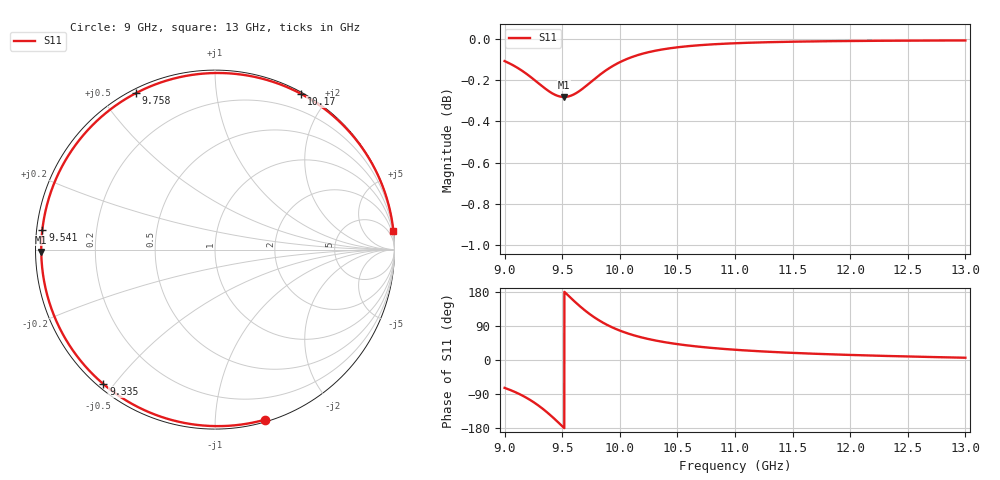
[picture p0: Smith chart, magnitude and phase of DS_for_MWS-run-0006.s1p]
! TOUCHSTONE file generated by CST DESIGN STUDIO
! Date and time: Tue Feb  4 17:32:15 2025
! Project name: C:\Work\MatlabApps\UnitCellOptimizationMatlab\CST\unitcell.cst
! Tree item: Tasks\Sweep1\SPara1\S-Parameters
! Header version: 2024
! Port assignment regex: !\s*Touchstone port\s*([0-9]+)\s*=\s*(CST MWS port|CST DES external port|CST DES block port)\s*(.+)\s* \(\"(.*)\"\)(\s*mode\s*([0-9]+))?.*
! Touchstone port assignment:
! Touchstone port 1 = CST DES external port 1 ("")
# GHz S MA R 50
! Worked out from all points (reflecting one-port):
!   4001 points, 9 GHz to 13 GHz, reference 50 ohm
!   lowest |S11| = -0.3 dB at 9.516 GHz (marker M1), VSWR 61.78, Z = 0.809 - j0.327 ohm
!   phase of S11 starts at -74 deg and turns -280 deg over the sweep
!   S11 on the Smith chart (normalised r, x): 9 GHz: 0.02, -1.34; 9.335 GHz: 0.02, -0.47; 9.541 GHz: 0.02, +0.06; 9.758 GHz: 0.02, +0.61; 10.17 GHz: 0.02, +1.69; 13 GHz: 0, +19
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9  0.9878 -73.6
9.091  0.9849 -84.6
9.195  0.9805 -100.6
9.268  0.9769 -114.6
9.335  0.9735 -129.7
9.38  0.9714 -141.0
9.426  0.9697 -153.4
9.464  0.9687 -164.1
9.5  0.9682 -174.6
9.516  0.9681 -179.3
9.541  0.9683 173.4
9.595  0.9694 157.9
9.655  0.9716 141.5
9.706  0.9741 128.7
9.758  0.9768 116.9
9.809  0.9794 106.6
9.864  0.982 96.8
10  0.9872 77.6
10.081  0.9894 68.9
10.169  0.9914 61.2
10.32  0.9937 50.8
10.5  0.9954 41.9
10.722  0.9967 34.0
11  0.9977 27.0
11.5  0.9986 18.8
12  0.999 13.3
12.5  0.9992 9.3
13  0.9993 6.0
